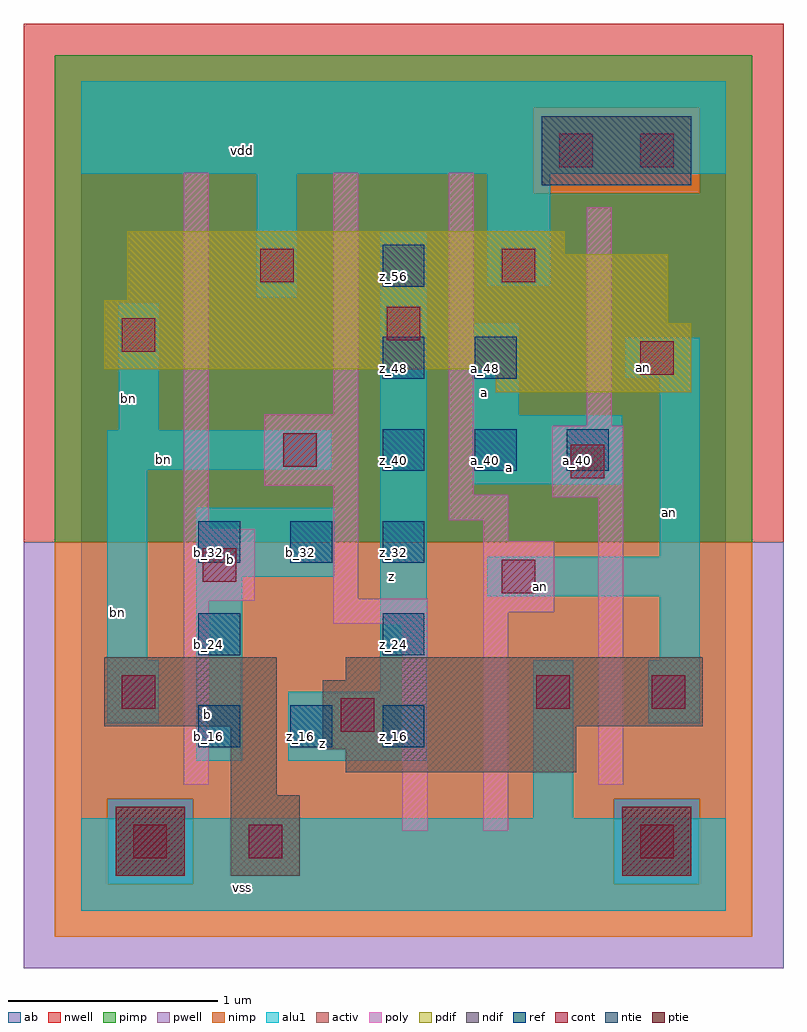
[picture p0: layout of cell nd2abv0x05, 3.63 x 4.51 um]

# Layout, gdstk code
import gdstk
lib = gdstk.Library(unit=1e-6, precision=2.5e-09)
def R(c, l, rs):  # rectangles x0, y0, x1, y1
    for r in rs: c.add(gdstk.rectangle(r[:2], r[2:], *l))
def A(c, l, x, y, w, h, nx, ny, dx, dy):  # array of equal rectangles
    R(c, l, [(x+i*dx, y+j*dy, x+i*dx+w, y+j*dy+h) for i in range(nx) for j in range(ny)])
ndif = (3, 0)
pdif = (4, 0)
ntie = (5, 0)
ptie = (6, 0)
ref = (24, 0)
cont = (25, 0)
pwell = (41, 0)
nwell = (42, 0)
activ = (43, 0)
pimp = (44, 0)
nimp = (45, 0)
poly = (46, 0)
alu1 = (49, 0)
ab = (63, 0)

nd2abv0x05 = lib.new_cell('nd2abv0x05')
R(nd2abv0x05, ndif, [(0.715,0.165,1.045,0.55), (0.715,0.55,0.935,0.88), (1.265,0.66,2.365,0.77), (1.155,0.77,2.365,0.88), (0.11,0.88,0.935,1.21), (1.155,0.88,2.97,1.1), (1.265,1.1,2.97,1.21)])
R(nd2abv0x05, pdif, [(1.98,2.475,2.915,2.585), (0.11,2.585,2.915,2.805), (0.11,2.805,2.805,2.915), (0.22,2.915,2.805,3.135), (0.22,3.135,2.31,3.245)])
R(nd2abv0x05, ntie, [(2.2,3.465,2.915,3.795)])
R(nd2abv0x05, ptie, [(0.165,0.165,0.495,0.495), (2.585,0.165,2.915,0.495)])
A(nd2abv0x05, ref, 0.56, 0.78, 0.2, 0.2, 3, 2, 0.44, 0.88)
A(nd2abv0x05, ref, 1.44, 2.1, 0.2, 0.2, 3, 1, 0.44, 0)
R(nd2abv0x05, ref, [(0.56,1.22,0.76,1.42), (1.44,1.22,1.64,1.42), (1.44,2.54,1.64,2.74), (1.88,2.54,2.08,2.74), (1.44,2.98,1.64,3.18)])
R(nd2abv0x05, cont, [(0.25,0.25,0.41,0.41), (0.8,0.25,0.96,0.41), (2.67,0.25,2.83,0.41), (1.24,0.855,1.4,1.015), (0.195,0.965,0.355,1.125), (2.175,0.965,2.335,1.125), (2.725,0.965,2.885,1.125), (2.01,1.515,2.17,1.675), (0.58,1.57,0.74,1.73), (2.34,2.065,2.5,2.225), (0.965,2.12,1.125,2.28), (2.67,2.56,2.83,2.72), (0.195,2.67,0.355,2.83), (1.46,2.725,1.62,2.885), (0.855,3,1.015,3.16), (2.01,3,2.17,3.16), (2.285,3.55,2.445,3.71), (2.67,3.55,2.83,3.71)])
R(nd2abv0x05, pwell, [(-0.275,-0.275,3.355,1.76)])
R(nd2abv0x05, nwell, [(-0.275,1.76,3.355,4.235)])
R(nd2abv0x05, activ, [(0.165,0.165,0.495,0.495), (0.715,0.165,1.045,0.55), (2.585,0.165,2.915,0.495), (0.715,0.55,0.935,0.88), (1.265,0.66,2.365,0.77), (1.155,0.77,2.365,0.88), (0.11,0.88,0.935,1.21), (1.155,0.88,2.97,1.1), (1.265,1.1,2.97,1.21), (1.98,2.475,2.915,2.585), (0.11,2.585,2.915,2.805), (0.11,2.805,2.805,2.915), (0.22,2.915,2.805,3.135), (0.22,3.135,2.31,3.245), (2.2,3.465,2.915,3.795)])
R(nd2abv0x05, pimp, [(0.125,0.125,0.535,0.535), (2.545,0.125,2.955,0.535), (-0.125,1.76,3.205,3.425), (-0.125,3.425,2.16,3.835), (2.955,3.425,3.205,3.835), (-0.125,3.835,3.205,4.085)])
R(nd2abv0x05, nimp, [(-0.125,-0.125,3.205,0.125), (-0.125,0.125,0.125,0.535), (0.535,0.125,2.545,0.535), (2.955,0.125,3.205,0.535), (-0.125,0.535,3.205,1.76), (2.16,3.425,2.955,3.835)])
R(nd2abv0x05, poly, [(1.535,0.38,1.655,1.37), (1.92,0.38,2.04,1.425), (0.49,0.6,0.61,1.48), (2.47,0.6,2.59,1.975), (1.205,1.37,1.655,1.49), (1.92,1.425,2.26,1.765), (0.49,1.48,0.83,1.82), (1.205,1.49,1.325,2.03), (1.92,1.765,2.04,1.865), (0.49,1.82,0.61,3.525), (1.755,1.865,2.04,1.985), (2.25,1.975,2.59,2.315), (1.755,1.985,1.875,3.525), (0.875,2.03,1.325,2.37), (2.415,2.315,2.535,3.36), (1.205,2.37,1.325,3.525)])
R(nd2abv0x05, alu1, [(0,0,3.08,0.44), (2.16,0.44,2.35,1.195), (0.55,0.715,0.77,1.595), (0.99,0.715,1.65,1.045), (0.125,0.895,0.37,1.195), (2.71,0.895,2.955,1.195), (1.43,1.045,1.65,3.245), (0.125,1.195,0.315,2.105), (2.765,1.195,2.955,1.5), (1.94,1.5,2.955,1.69), (0.55,1.595,1.21,1.925), (2.765,1.69,2.955,2.545), (1.87,2.035,2.585,2.365), (0.125,2.105,1.195,2.295), (0.18,2.295,0.37,2.9), (1.87,2.365,2.09,2.805), (2.6,2.545,2.955,2.735), (0.84,2.93,1.03,3.52), (1.94,2.985,2.24,3.52), (0,3.52,3.08,3.96)])
R(nd2abv0x05, ab, [(0,0,3.08,3.96)])
nd2abv0x05.add(gdstk.Label('vss', (0.77,0.11), layer=49, texttype=0))
nd2abv0x05.add(gdstk.Label('z', (1.155,0.7975), layer=49, texttype=0))
nd2abv0x05.add(gdstk.Label('an', (2.1925,1.5475), layer=49, texttype=0))
nd2abv0x05.add(gdstk.Label('an', (2.8125,1.9025), layer=49, texttype=0))
nd2abv0x05.add(gdstk.Label('a', (2.0475,2.1175), layer=49, texttype=0))
nd2abv0x05.add(gdstk.Label('an', (2.6875,2.5925), layer=49, texttype=0))
nd2abv0x05.add(gdstk.Label('a', (1.925,2.475), layer=49, texttype=0))
nd2abv0x05.add(gdstk.Label('z', (1.485,1.595), layer=49, texttype=0))
nd2abv0x05.add(gdstk.Label('b', (0.605,0.935), layer=49, texttype=0))
nd2abv0x05.add(gdstk.Label('b', (0.715,1.6775), layer=49, texttype=0))
nd2abv0x05.add(gdstk.Label('bn', (0.1725,1.4225), layer=49, texttype=0))
nd2abv0x05.add(gdstk.Label('bn', (0.3925,2.1525), layer=49, texttype=0))
nd2abv0x05.add(gdstk.Label('bn', (0.2275,2.445), layer=49, texttype=0))
nd2abv0x05.add(gdstk.Label('vdd', (0.77,3.63), layer=49, texttype=0))
nd2abv0x05.add(gdstk.Label('b_16', (0.61,0.83), layer=24, texttype=0))
nd2abv0x05.add(gdstk.Label('b_24', (0.61,1.27), layer=24, texttype=0))
nd2abv0x05.add(gdstk.Label('b_32', (0.61,1.71), layer=24, texttype=0))
nd2abv0x05.add(gdstk.Label('z_16', (1.05,0.83), layer=24, texttype=0))
nd2abv0x05.add(gdstk.Label('b_32', (1.05,1.71), layer=24, texttype=0))
nd2abv0x05.add(gdstk.Label('z_16', (1.49,0.83), layer=24, texttype=0))
nd2abv0x05.add(gdstk.Label('z_24', (1.49,1.27), layer=24, texttype=0))
nd2abv0x05.add(gdstk.Label('z_32', (1.49,1.71), layer=24, texttype=0))
nd2abv0x05.add(gdstk.Label('z_40', (1.49,2.15), layer=24, texttype=0))
nd2abv0x05.add(gdstk.Label('z_48', (1.49,2.59), layer=24, texttype=0))
nd2abv0x05.add(gdstk.Label('z_56', (1.49,3.03), layer=24, texttype=0))
nd2abv0x05.add(gdstk.Label('a_40', (1.93,2.15), layer=24, texttype=0))
nd2abv0x05.add(gdstk.Label('a_48', (1.93,2.59), layer=24, texttype=0))
nd2abv0x05.add(gdstk.Label('a_40', (2.37,2.15), layer=24, texttype=0))

lib.write_gds('nd2abv0x05.gds')
